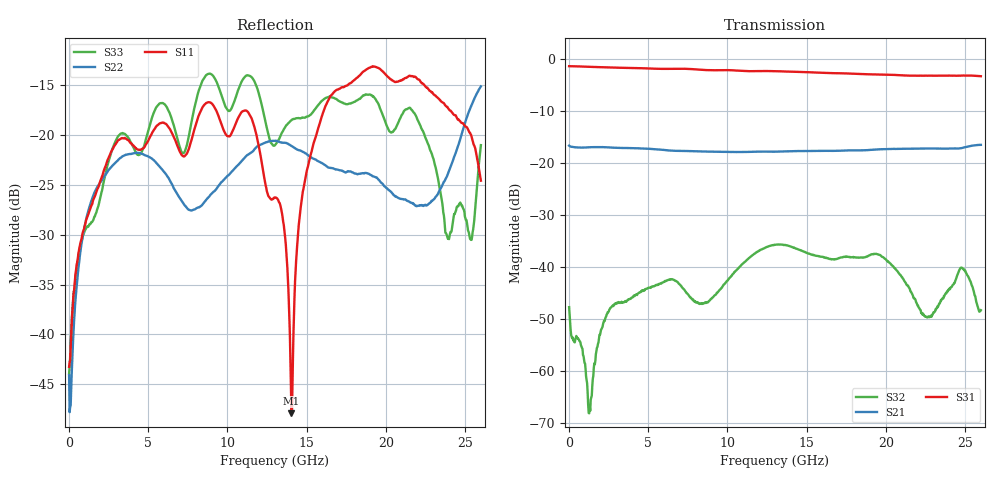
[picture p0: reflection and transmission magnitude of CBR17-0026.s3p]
!Keysight Technologies,N5245A,MY52451697,A.10.60.06
!Date: Wednesday, November 28, 2018 16:10:37
!Correction: S11(Full 3 Port(1,2,4))
!S12(Full 3 Port(1,2,4))
!S14(Full 3 Port(1,2,4))
!S21(Full 3 Port(1,2,4))
!S22(Full 3 Port(1,2,4))
!S24(Full 3 Port(1,2,4))
!S41(Full 3 Port(1,2,4))
!S42(Full 3 Port(1,2,4))
!S44(Full 3 Port(1,2,4))
! Description:  4-port S-parameter data for Directional Coupler CBR17-0026
!Port Configuration: Port 1 = Input ; Port 2 = Coupled ; Port 3 = Output
!S3P File: Measurements: <S11,S12,S14>,
!<S21,S22,S24>,
!<S41,S42,S44>:
# Hz S  RI  R 50
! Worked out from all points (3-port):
!   801 points, 10 MHz to 26 GHz, reference 50 ohm
!   strongest paths, dB at 10 MHz, 6.508 GHz, 13.01 GHz, 19.5 GHz, 26 GHz:
!     S31: -1.4, -1.9, -2.4, -3.0, -3.3
!     S21: -16.7, -17.7, -17.9, -17.4, -16.5
!     S32: -47.8, -42.4, -35.8, -37.6, -48.3
!   lowest |S11| = -47.9 dB at 14.04 GHz (marker M1), VSWR 1.01, Z = 50 + j0.4 ohm
!   |S11| at or under -10 dB: start of sweep to end of sweep
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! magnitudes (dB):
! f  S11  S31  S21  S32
! 10 MHz  -43.3  -1.4  -16.7  -47.8
! 1.31 GHz  -27.5  -1.5  -17.0  -66.9
! 2.804 GHz  -21.3  -1.7  -17.1  -47.5
! 13.01 GHz  -26.3  -2.4  -17.9  -35.8
! 14.04 GHz  -47.9  -2.5  -17.8  -36.2
! 14.76 GHz  -25.7  -2.5  -17.7  -37.0
! 16.77 GHz  -15.6  -2.8  -17.7  -38.6
! 21.68 GHz  -14.1  -3.2  -17.3  -45.4
! 23.89 GHz  -17.2  -3.2  -17.3  -44.8
! 26 GHz  -24.6  -3.3  -16.5  -48.3
